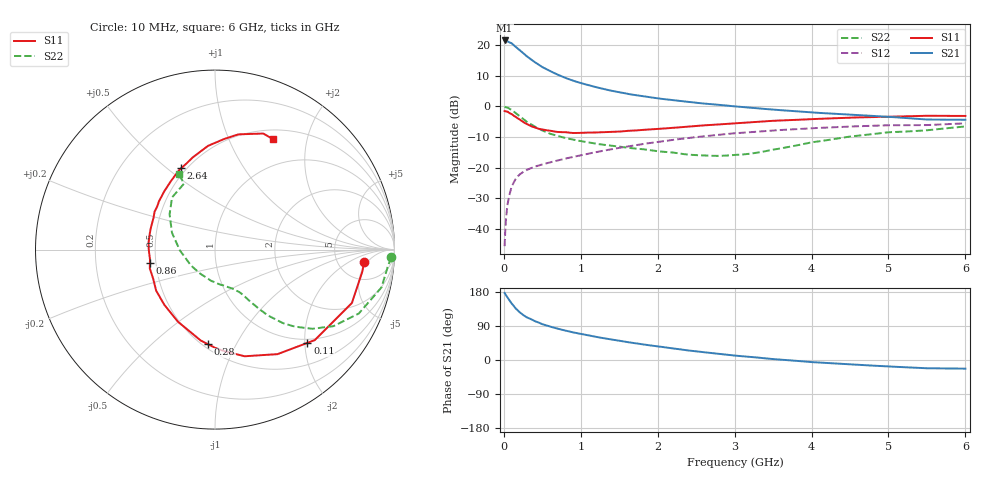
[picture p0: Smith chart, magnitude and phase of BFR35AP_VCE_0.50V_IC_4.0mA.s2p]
! Infineon Technologies  Discrete & RF Semiconductors
! BFR35AP
! VCE = 0.50 V,  IC =  4.0 mA
! Common Emitter S-Parameters:  Nov 2015
# GHz  S  MA  R  50
!  f  S11  S21  S12  S22
! GHz  MAG  ANG  MAG  ANG  MAG  ANG  MAG  ANG
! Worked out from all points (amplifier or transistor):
!   210 points, 10 MHz to 6 GHz, reference 50 ohm
!   highest |S21| = 21.5 dB at 10 MHz (marker M1)
!   |S21| within 3 dB of that: start of sweep to 200 MHz
!   unconditionally stable (mu >= 1): 718.4 MHz to end of sweep
!   at 185 MHz: K = 0.36, MSG = 20.8 dB, |S12| = -22.8 dB
!   at 1.52 GHz: K = 1.23, MAG = 6.1 dB, |S12| = -13.5 dB
!   at 6 GHz: K = 1.09, MAG = -1.2 dB, |S12| = -5.6 dB
!   S11 on the Smith chart (normalised r, x): 10 MHz: 9, -4; 110 MHz: 0.92, -2.05; 280 MHz: 0.53, -0.78; 860 MHz: 0.46, -0.08; 2.64 GHz: 0.47, +0.56; 6 GHz: 0.61, +1.47
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0.01  0.8343 -4.6  11.88 177.0  0.0052 85.9  0.9828 -2.5
0.025  0.825 -10.8  11.69 171.9  0.0127 83.4  0.9649 -6.4
0.05  0.8187 -21.3  11.5 164.0  0.0258 78.4  0.9512 -12.8
0.1  0.7506 -42.2  10.73 149.5  0.0479 67.9  0.8765 -24.0
0.11  0.7314 -45.3  10.44 147.2  0.051 65.9  0.8567 -25.6
0.15  0.6788 -59.1  9.462 136.7  0.064 59.9  0.7853 -32.9
0.2  0.6167 -74.5  8.414 127.0  0.0759 54.6  0.6995 -39.1
0.24  0.5667 -85.1  7.599 120.5  0.0829 51.3  0.6344 -42.9
0.28  0.5283 -94.3  6.878 115.1  0.0888 49.2  0.5813 -45.9
0.3  0.5128 -98.9  6.537 112.4  0.0916 48.4  0.5568 -47.3
0.4  0.452 -117.1  5.282 102.8  0.1033 45.7  0.4689 -51.3
0.5  0.4177 -132.5  4.373 94.5  0.1124 45.0  0.4028 -53.7
0.68  0.3839 -152.6  3.374 83.6  0.1287 45.1  0.333 -56.5
0.86  0.3702 -168.4  2.731 74.9  0.1454 45.3  0.2926 -58.6
1.02  0.3695 178.6  2.357 68.0  0.1608 45.7  0.2675 -60.9
1.4  0.3819 156.1  1.79 54.1  0.1987 45.3  0.2274 -69.1
2.02  0.4293 131.6  1.338 35.4  0.2648 41.4  0.1834 -88.9
2.64  0.4913 112.5  1.097 19.7  0.3277 35.0  0.1568 -122.2
3.1  0.5365 101.7  0.973 10.0  0.3701 29.1  0.1631 -154.4
4.1  0.6243 84.0  0.78 -6.7  0.444 16.3  0.2681 154.7
5.1  0.6796 71.7  0.661 -18.0  0.4903 3.4  0.3806 126.4
6  0.6955 62.5  0.602 -22.8  0.5269 -5.4  0.4686 115.5
